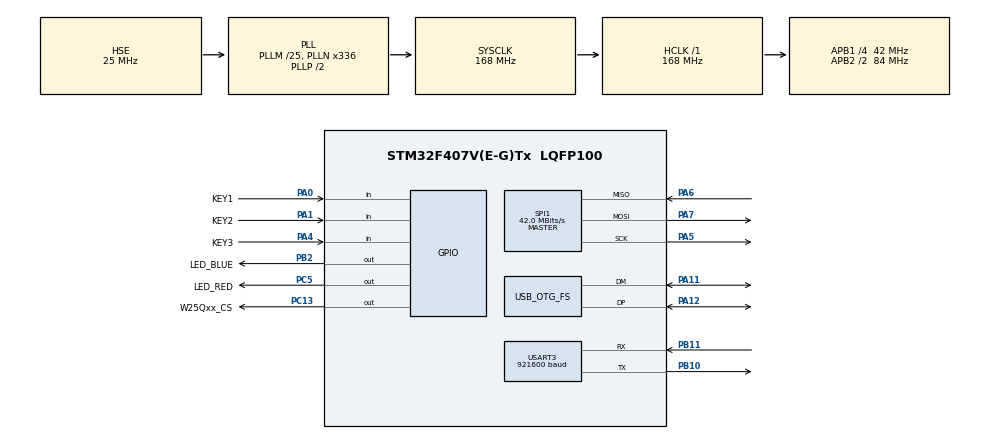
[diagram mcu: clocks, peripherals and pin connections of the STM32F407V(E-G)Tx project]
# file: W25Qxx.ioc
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Dma.Request0=USART3_RX
Dma.Request1=USART3_TX
Dma.Request2=SPI1_RX
Dma.Request3=SPI1_TX
Dma.SPI1_RX.2.Direction=DMA_PERIPH_TO_MEMORY
Dma.SPI1_RX.2.FIFOMode=DMA_FIFOMODE_DISABLE
Dma.SPI1_RX.2.Instance=DMA2_Stream0
Dma.SPI1_RX.2.MemDataAlignment=DMA_MDATAALIGN_BYTE
Dma.SPI1_RX.2.MemInc=DMA_MINC_ENABLE
Dma.SPI1_RX.2.Mode=DMA_NORMAL
Dma.SPI1_RX.2.PeriphDataAlignment=DMA_PDATAALIGN_BYTE
Dma.SPI1_RX.2.PeriphInc=DMA_PINC_DISABLE
Dma.SPI1_RX.2.Priority=DMA_PRIORITY_LOW
Dma.SPI1_TX.3.Direction=DMA_MEMORY_TO_PERIPH
Dma.SPI1_TX.3.FIFOMode=DMA_FIFOMODE_DISABLE
Dma.SPI1_TX.3.Instance=DMA2_Stream3
Dma.SPI1_TX.3.MemDataAlignment=DMA_MDATAALIGN_BYTE
Dma.SPI1_TX.3.MemInc=DMA_MINC_ENABLE
Dma.SPI1_TX.3.Mode=DMA_NORMAL
Dma.SPI1_TX.3.PeriphDataAlignment=DMA_PDATAALIGN_BYTE
Dma.SPI1_TX.3.PeriphInc=DMA_PINC_DISABLE
Dma.SPI1_TX.3.Priority=DMA_PRIORITY_LOW
Dma.USART3_RX.0.Direction=DMA_PERIPH_TO_MEMORY
Dma.USART3_RX.0.FIFOMode=DMA_FIFOMODE_DISABLE
Dma.USART3_RX.0.Instance=DMA1_Stream1
Dma.USART3_RX.0.MemDataAlignment=DMA_MDATAALIGN_BYTE
Dma.USART3_RX.0.MemInc=DMA_MINC_ENABLE
Dma.USART3_RX.0.Mode=DMA_NORMAL
Dma.USART3_RX.0.PeriphDataAlignment=DMA_PDATAALIGN_BYTE
Dma.USART3_RX.0.PeriphInc=DMA_PINC_DISABLE
Dma.USART3_RX.0.Priority=DMA_PRIORITY_LOW
Dma.USART3_TX.1.Direction=DMA_MEMORY_TO_PERIPH
Dma.USART3_TX.1.FIFOMode=DMA_FIFOMODE_DISABLE
Dma.USART3_TX.1.Instance=DMA1_Stream3
Dma.USART3_TX.1.MemDataAlignment=DMA_MDATAALIGN_BYTE
Dma.USART3_TX.1.MemInc=DMA_MINC_ENABLE
Dma.USART3_TX.1.Mode=DMA_NORMAL
Dma.USART3_TX.1.PeriphDataAlignment=DMA_PDATAALIGN_BYTE
Dma.USART3_TX.1.PeriphInc=DMA_PINC_DISABLE
Dma.USART3_TX.1.Priority=DMA_PRIORITY_LOW
FATFS._FS_MINIMIZE=0
FATFS._MAX_SS=4096
FATFS._MIN_SS=4096
FREERTOS.Tasks01=defaultTask,24,5000,StartDefaultTask,Default,NULL,Dynamic,NULL,NULL;LED_R_TASK,8,128,os_led_r_task,Default,NULL,Dynamic,NULL,NULL;LED_B_TASK,8,128,os_led_b_task,Default,NULL,Dynamic,NULL,NULL;LOG_TASK,24,512,os_log_task,Default,NULL,Dynamic,NULL,NULL;CMD_TASK,24,512,os_cmd_task,Default,NULL,Dynamic,NULL,NULL
FREERTOS.configTOTAL_HEAP_SIZE=40000
Mcu.Family=STM32F4
Mcu.Name=STM32F407V(E-G)Tx
Mcu.Package=LQFP100
NVIC.DMA1_Stream1_IRQn=true\:5\:0\:false\:false\:true\:true\:false\:true\:true
NVIC.DMA1_Stream3_IRQn=true\:5\:0\:false\:false\:true\:true\:false\:true\:true
NVIC.DMA2_Stream0_IRQn=true\:5\:0\:false\:false\:true\:true\:false\:true\:true
NVIC.DMA2_Stream3_IRQn=true\:5\:0\:false\:false\:true\:true\:false\:true\:true
NVIC.OTG_FS_IRQn=true\:5\:0\:false\:false\:true\:true\:false\:true\:true
NVIC.PriorityGroup=NVIC_PRIORITYGROUP_4
NVIC.TIM1_TRG_COM_TIM11_IRQn=true\:5\:0\:false\:false\:true\:false\:false\:true\:true
NVIC.TIM1_UP_TIM10_IRQn=true\:5\:0\:false\:false\:true\:true\:true\:true\:true
NVIC.TIM8_TRG_COM_TIM14_IRQn=true\:15\:0\:false\:false\:true\:false\:false\:true\:true
NVIC.TimeBase=TIM8_TRG_COM_TIM14_IRQn
NVIC.TimeBaseIP=TIM14
NVIC.USART3_IRQn=true\:5\:0\:false\:false\:true\:true\:false\:true\:true
PA0-WKUP.GPIO_Label=KEY1
PA0-WKUP.GPIO_PuPd=GPIO_PULLDOWN
PA0-WKUP.Signal=GPIO_Input
PA1.GPIO_Label=KEY2
PA1.GPIO_PuPd=GPIO_PULLUP
PA1.Signal=GPIO_Input
PA11.Mode=Device_Only
PA11.Signal=USB_OTG_FS_DM
PA12.Mode=Device_Only
PA12.Signal=USB_OTG_FS_DP
PA13.Mode=Serial_Wire
PA13.Signal=SYS_JTMS-SWDIO
PA14.Mode=Serial_Wire
PA14.Signal=SYS_JTCK-SWCLK
PA4.GPIO_Label=KEY3
PA4.GPIO_PuPd=GPIO_PULLUP
PA4.Signal=GPIO_Input
PA5.Mode=Full_Duplex_Master
PA5.Signal=SPI1_SCK
PA6.Mode=Full_Duplex_Master
PA6.Signal=SPI1_MISO
PA7.Mode=Full_Duplex_Master
PA7.Signal=SPI1_MOSI
PB10.Mode=Asynchronous
PB10.Signal=USART3_TX
PB11.Mode=Asynchronous
PB11.Signal=USART3_RX
PB2.GPIO_Label=LED_BLUE
PB2.Signal=GPIO_Output
PC13-ANTI_TAMP.GPIO_Label=W25Qxx_CS
PC13-ANTI_TAMP.GPIO_PuPd=GPIO_PULLUP
PC13-ANTI_TAMP.PinState=GPIO_PIN_SET
PC13-ANTI_TAMP.Signal=GPIO_Output
PC14-OSC32_IN.Mode=LSE-External-Oscillator
PC14-OSC32_IN.Signal=RCC_OSC32_IN
PC15-OSC32_OUT.Mode=LSE-External-Oscillator
PC15-OSC32_OUT.Signal=RCC_OSC32_OUT
PC5.GPIO_Label=LED_RED
PC5.Signal=GPIO_Output
PH0-OSC_IN.Mode=HSE-External-Oscillator
PH0-OSC_IN.Signal=RCC_OSC_IN
PH1-OSC_OUT.Mode=HSE-External-Oscillator
PH1-OSC_OUT.Signal=RCC_OSC_OUT
ProjectManager.HeapSize=0x200
ProjectManager.StackSize=0x400
ProjectManager.TargetToolchain=CMake
RCC.48MHZClocksFreq_Value=48000000
RCC.AHBFreq_Value=168000000
RCC.APB1CLKDivider=RCC_HCLK_DIV4
RCC.APB1Freq_Value=42000000
RCC.APB1TimFreq_Value=84000000
RCC.APB2CLKDivider=RCC_HCLK_DIV2
RCC.APB2Freq_Value=84000000
RCC.APB2TimFreq_Value=168000000
RCC.CortexFreq_Value=168000000
RCC.HCLKFreq_Value=168000000
RCC.HSE_VALUE=25000000
RCC.HSI_VALUE=16000000
RCC.PLLM=25
RCC.PLLN=336
RCC.PLLQ=7
RCC.SYSCLKFreq_VALUE=168000000
RCC.SYSCLKSource=RCC_SYSCLKSOURCE_PLLCLK
RCC.VCOOutputFreq_Value=336000000
SPI1.CalculateBaudRate=42.0 MBits/s
SPI1.Direction=SPI_DIRECTION_2LINES
SPI1.Mode=SPI_MODE_MASTER
SPI1.VirtualType=VM_MASTER
TIM1.Period=1000-1
TIM1.Prescaler=168-1
USART3.BaudRate=921600
USART3.VirtualMode=VM_ASYNC
USB_DEVICE.CLASS_NAME_FS=CDC
USB_DEVICE.VirtualMode-CDC_FS=Cdc
USB_DEVICE.VirtualModeFS=Cdc_FS
USB_OTG_FS.VirtualMode=Device_Only
VP_FATFS_VS_Generic.Mode=User_defined
VP_FREERTOS_VS_CMSIS_V2.Mode=CMSIS_V2
VP_SYS_VS_tim14.Mode=TIM14
VP_TIM1_VS_ClockSourceINT.Mode=Internal
VP_USB_DEVICE_VS_USB_DEVICE_CDC_FS.Mode=CDC_FS
board=custom

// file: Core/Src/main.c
/* USER CODE BEGIN Header */
/**
 ******************************************************************************
 * @file           : main.c
 * @brief          : Main program body
 ******************************************************************************
 * @attention
 *
 * Copyright (c) 2025 STMicroelectronics.
 * All rights reserved.
 *
 * This software is licensed under terms that can be found in the LICENSE file
 * in the root directory of this software component.
 * If no LICENSE file comes with this software, it is provided AS-IS.
 *
 ******************************************************************************
 */
/* USER CODE END Header */
#include "main.h"
#include "cmsis_os.h"
#include "dma.h"
#include "fatfs.h"
#include "spi.h"
#include "tim.h"
#include "usart.h"
#include "usb_device.h"
#include "gpio.h"

/* USER CODE BEGIN Includes */
#include <stdio.h>

#include "usbd_cdc_if.h"
/* USER CODE END Includes */

/* USER CODE BEGIN PM */
#define USART_REC_LEN 1024
uint8_t rx_buf[USART_REC_LEN];
uint32_t rx_len;
/* USER CODE END PM */

void SystemClock_Config(void);
void MX_FREERTOS_Init(void);

int main(void)
{

  /* MCU Configuration--------------------------------------------------------*/

  /* Reset of all peripherals, Initializes the Flash interface and the Systick. */
  HAL_Init();

  /* Configure the system clock */
  SystemClock_Config();

  /* Initialize all configured peripherals */
  MX_GPIO_Init();
  MX_DMA_Init();
  MX_USART3_UART_Init();
  MX_TIM1_Init();
  MX_SPI1_Init();
  MX_FATFS_Init();

  /* Init scheduler */
  osKernelInitialize();  /* Call init function for freertos objects (in cmsis_os2.c) */
  MX_FREERTOS_Init();

  /* Start scheduler */
  osKernelStart();

  /* We should never get here as control is now taken by the scheduler */

  /* Infinite loop */
  while (1) {

  }
}

void SystemClock_Config(void)
{
  RCC_OscInitTypeDef RCC_OscInitStruct = {0};
  RCC_ClkInitTypeDef RCC_ClkInitStruct = {0};

  /** Configure the main internal regulator output voltage
  */
  __HAL_RCC_PWR_CLK_ENABLE();
  __HAL_PWR_VOLTAGESCALING_CONFIG(PWR_REGULATOR_VOLTAGE_SCALE1);

  /** Initializes the RCC Oscillators according to the specified parameters
  * in the RCC_OscInitTypeDef structure.
  */
  RCC_OscInitStruct.OscillatorType = RCC_OSCILLATORTYPE_HSE;
  RCC_OscInitStruct.HSEState = RCC_HSE_ON;
  RCC_OscInitStruct.PLL.PLLState = RCC_PLL_ON;
  RCC_OscInitStruct.PLL.PLLSource = RCC_PLLSOURCE_HSE;
  RCC_OscInitStruct.PLL.PLLM = 25;
  RCC_OscInitStruct.PLL.PLLN = 336;
  RCC_OscInitStruct.PLL.PLLP = RCC_PLLP_DIV2;
  RCC_OscInitStruct.PLL.PLLQ = 7;
  if (HAL_RCC_OscConfig(&RCC_OscInitStruct) != HAL_OK)
  {
    Error_Handler();
  }

  /** Initializes the CPU, AHB and APB buses clocks
  */
  RCC_ClkInitStruct.ClockType = RCC_CLOCKTYPE_HCLK|RCC_CLOCKTYPE_SYSCLK
                              |RCC_CLOCKTYPE_PCLK1|RCC_CLOCKTYPE_PCLK2;
  RCC_ClkInitStruct.SYSCLKSource = RCC_SYSCLKSOURCE_PLLCLK;
  RCC_ClkInitStruct.AHBCLKDivider = RCC_SYSCLK_DIV1;
  RCC_ClkInitStruct.APB1CLKDivider = RCC_HCLK_DIV4;
  RCC_ClkInitStruct.APB2CLKDivider = RCC_HCLK_DIV2;

  if (HAL_RCC_ClockConfig(&RCC_ClkInitStruct, FLASH_LATENCY_5) != HAL_OK)
  {
    Error_Handler();
  }
}

void HAL_TIM_PeriodElapsedCallback(TIM_HandleTypeDef *htim)
{
  if (htim->Instance == TIM14)
  {
    HAL_IncTick();
  }
}

void Error_Handler(void)
{
  __disable_irq();
  while (1) {
  }
}
#ifdef USE_FULL_ASSERT
/**
  * @brief  Reports the name of the source file and the source line number
  *         where the assert_param error has occurred.
  * @param  file: pointer to the source file name
  * @param  line: assert_param error line source number
  * @retval None
  */
void assert_failed(uint8_t *file, uint32_t line)
{
  /* USER CODE BEGIN 6 */
  /* User can add his own implementation to report the file name and line
     number,
     ex: printf("Wrong parameters value: file %s on line %d\r\n", file, line) */
  /* USER CODE END 6 */
}
#endif /* USE_FULL_ASSERT */

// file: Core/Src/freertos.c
/* USER CODE BEGIN Header */
/**
 ******************************************************************************
 * File Name          : freertos.c
 * Description        : Code for freertos applications
 ******************************************************************************
 * @attention
 *
 * Copyright (c) 2025 STMicroelectronics.
 * All rights reserved.
 *
 * This software is licensed under terms that can be found in the LICENSE file
 * in the root directory of this software component.
 * If no LICENSE file comes with this software, it is provided AS-IS.
 *
 ******************************************************************************
 */
/* USER CODE END Header */

#include "FreeRTOS.h"
#include "task.h"
#include "main.h"
#include "cmsis_os.h"

/* USER CODE BEGIN Includes */
#include "app.h"
#include "cmsis_os2.h"
#include "diskio.h"
#include "driver_fs.h"
#include "fatfs.h"
#include "ffconf.h"
#include "gpio.h"
#include "sfud.h"
#include <stdint.h>
#include <stdio.h>

/* USER CODE END Includes */

/* Definitions for defaultTask */
osThreadId_t defaultTaskHandle;
const osThreadAttr_t defaultTask_attributes = {
  .name = "defaultTask",
  .stack_size = 5000 * 4,
  .priority = (osPriority_t) osPriorityNormal,
};
/* Definitions for LED_R_TASK */
osThreadId_t LED_R_TASKHandle;
const osThreadAttr_t LED_R_TASK_attributes = {
  .name = "LED_R_TASK",
  .stack_size = 128 * 4,
  .priority = (osPriority_t) osPriorityLow,
};
/* Definitions for LED_B_TASK */
osThreadId_t LED_B_TASKHandle;
const osThreadAttr_t LED_B_TASK_attributes = {
  .name = "LED_B_TASK",
  .stack_size = 128 * 4,
  .priority = (osPriority_t) osPriorityLow,
};
/* Definitions for LOG_TASK */
osThreadId_t LOG_TASKHandle;
const osThreadAttr_t LOG_TASK_attributes = {
  .name = "LOG_TASK",
  .stack_size = 512 * 4,
  .priority = (osPriority_t) osPriorityNormal,
};
/* Definitions for CMD_TASK */
osThreadId_t CMD_TASKHandle;
const osThreadAttr_t CMD_TASK_attributes = {
  .name = "CMD_TASK",
  .stack_size = 512 * 4,
  .priority = (osPriority_t) osPriorityNormal,
};

void StartDefaultTask(void *argument);
void os_led_r_task(void *argument);
void os_led_b_task(void *argument);
void os_log_task(void *argument);
void os_cmd_task(void *argument);

extern void MX_USB_DEVICE_Init(void);
void MX_FREERTOS_Init(void); /* (MISRA C 2004 rule 8.1) */

void MX_FREERTOS_Init(void) {
  /* USER CODE BEGIN Init */
  app_sys_init();
  /* USER CODE END Init */

  /* Create the thread(s) */
  /* creation of defaultTask */
  defaultTaskHandle = osThreadNew(StartDefaultTask, NULL, &defaultTask_attributes);

  /* creation of LED_R_TASK */
  LED_R_TASKHandle = osThreadNew(os_led_r_task, NULL, &LED_R_TASK_attributes);

  /* creation of LED_B_TASK */
  LED_B_TASKHandle = osThreadNew(os_led_b_task, NULL, &LED_B_TASK_attributes);

  /* creation of LOG_TASK */
  LOG_TASKHandle = osThreadNew(os_log_task, NULL, &LOG_TASK_attributes);

  /* creation of CMD_TASK */
  CMD_TASKHandle = osThreadNew(os_cmd_task, NULL, &CMD_TASK_attributes);

}

/* USER CODE BEGIN Header_StartDefaultTask */
/**
 * @brief  Function implementing the defaultTask thread.
 * @param    printf("Initializing filesystem...\n");
  init_filesystem();
argument: Not used
 * @retval None
 */
/* USER CODE END Header_StartDefaultTask */
void StartDefaultTask(void *argument)
{
  /* init code for USB_DEVICE */
  MX_USB_DEVICE_Init();
  /* USER CODE BEGIN StartDefaultTask */
  UNUSED(argument);
  app_default_task();
  osThreadExit();
  /* Infinite loop */
  for (;;) {
    osDelay(osWaitForever);
  }
  /* USER CODE END StartDefaultTask */
}

void os_led_r_task(void *argument)
{
  /* USER CODE BEGIN os_led_r_task */
  UNUSED(argument);
  app_led_r_task();
  osThreadExit();
  /* Infinite loop */
  for (;;) {
    osDelay(osWaitForever);
  }
  /* USER CODE END os_led_r_task */
}

void os_led_b_task(void *argument)
{
  /* USER CODE BEGIN os_led_b_task */
  UNUSED(argument);
  app_led_b_task();
  osThreadExit();
  /* Infinite loop */
  for (;;) {
    osDelay(osWaitForever);
  }
  /* USER CODE END os_led_b_task */
}

void os_log_task(void *argument)
{
  /* USER CODE BEGIN os_log_task */
  UNUSED(argument);
  app_log_task();
  osThreadExit();
  /* Infinite loop */
  for (;;) {
    osDelay(osWaitForever);
  }
  /* USER CODE END os_log_task */
}

void os_cmd_task(void *argument)
{
  /* USER CODE BEGIN os_cmd_task */
  UNUSED(argument);
  app_cmd_task();
  osThreadExit();
  /* Infinite loop */
  for (;;) {
    osDelay(osWaitForever);
  }
  /* USER CODE END os_cmd_task */
}
